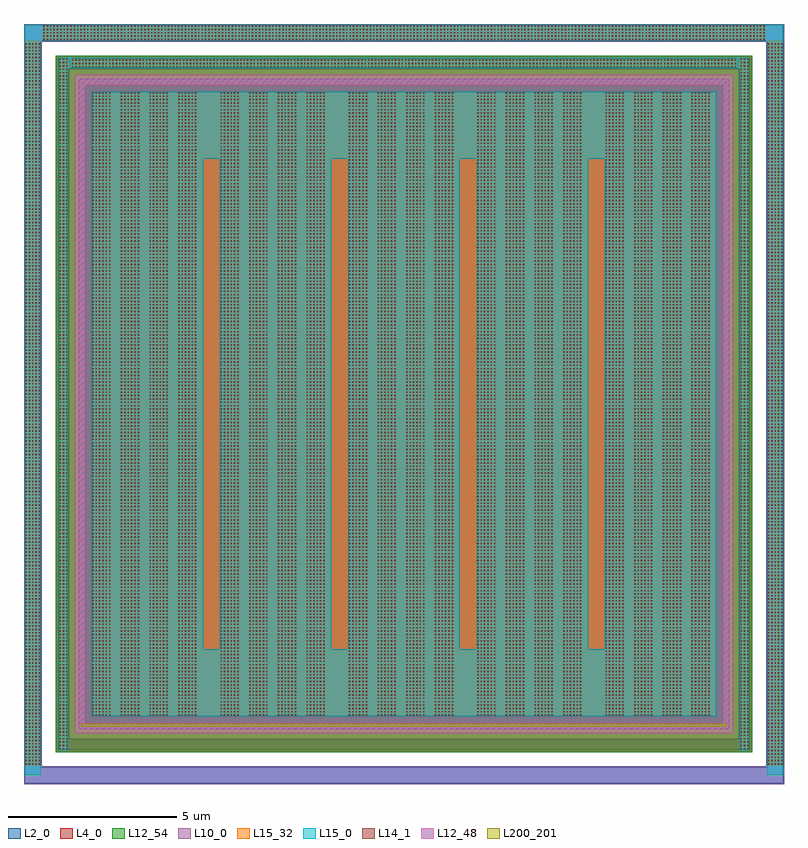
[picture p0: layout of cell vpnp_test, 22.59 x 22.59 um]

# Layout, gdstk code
import gdstk
lib = gdstk.Library(unit=1e-6, precision=1e-09)
def R(c, l, rs):  # rectangles x0, y0, x1, y1
    for r in rs: c.add(gdstk.rectangle(r[:2], r[2:], *l))
def A(c, l, x, y, w, h, nx, ny, dx, dy):  # array of equal rectangles
    R(c, l, [(x+i*dx, y+j*dy, x+i*dx+w, y+j*dy+h) for i in range(nx) for j in range(ny)])
L2_0 = (2, 0)
L4_0 = (4, 0)
L10_0 = (10, 0)
L12_48 = (12, 48)
L12_54 = (12, 54)
L14_1 = (14, 1)
L15_0 = (15, 0)
L15_32 = (15, 32)
L200_201 = (200, 201)

vpnp_test = lib.new_cell('vpnp_test')
R(vpnp_test, L2_0, [(-17.779,-9.809,4.773,-9.329), (-17.779,-9.329,-17.299,12.263), (4.293,-9.329,4.773,12.263), (-16.799,-8.829,3.793,-8.489), (-16.799,-8.489,-16.459,11.423), (3.453,-8.489,3.793,11.423), (-16.103,-8.133,3.097,11.067), (-16.799,11.423,3.793,11.763), (-17.779,12.263,4.773,12.743)])
R(vpnp_test, L4_0, [(-16.855,-8.885,3.849,11.819)])
R(vpnp_test, L10_0, [(-17.8,-9.83,4.794,-9.308), (-17.8,-9.308,-17.278,12.242), (4.272,-9.308,4.794,12.242), (-16.173,-8.203,3.167,11.137), (-17.8,12.242,4.794,12.764)])
R(vpnp_test, L12_48, [(-16.284,-8.314,3.278,-8.008), (-16.284,-8.008,-15.978,10.942), (2.972,-8.008,3.278,10.942), (-16.284,10.942,3.278,11.248)])
R(vpnp_test, L12_54, [(-16.855,-8.885,3.849,11.819)])
A(vpnp_test, L14_1, -17.759, -9.253, 0.04, 0.04, 5, 215, 0.1, 0.1)
A(vpnp_test, L14_1, 4.313, -9.253, 0.04, 0.04, 5, 215, 0.1, 0.1)
A(vpnp_test, L14_1, -16.749, -8.803, 0.04, 0.04, 3, 206, 0.1, 0.1)
A(vpnp_test, L14_1, 3.503, -8.803, 0.04, 0.04, 3, 206, 0.1, 0.1)
A(vpnp_test, L14_1, -15.773, -7.803, 0.04, 0.04, 6, 186, 0.1, 0.1)
A(vpnp_test, L14_1, -14.921, -7.803, 0.04, 0.04, 6, 186, 0.1, 0.1)
A(vpnp_test, L14_1, -14.069, -7.803, 0.04, 0.04, 6, 186, 0.1, 0.1)
A(vpnp_test, L14_1, -13.217, -7.803, 0.04, 0.04, 6, 186, 0.1, 0.1)
A(vpnp_test, L14_1, -11.957, -7.803, 0.04, 0.04, 6, 186, 0.1, 0.1)
A(vpnp_test, L14_1, -11.105, -7.803, 0.04, 0.04, 6, 186, 0.1, 0.1)
A(vpnp_test, L14_1, -10.253, -7.803, 0.04, 0.04, 6, 186, 0.1, 0.1)
A(vpnp_test, L14_1, -9.401, -7.803, 0.04, 0.04, 6, 186, 0.1, 0.1)
A(vpnp_test, L14_1, -8.142, -7.803, 0.04, 0.04, 6, 186, 0.1, 0.1)
A(vpnp_test, L14_1, -7.29, -7.803, 0.04, 0.04, 6, 186, 0.1, 0.1)
A(vpnp_test, L14_1, -6.438, -7.803, 0.04, 0.04, 6, 186, 0.1, 0.1)
A(vpnp_test, L14_1, -5.586, -7.803, 0.04, 0.04, 6, 186, 0.1, 0.1)
A(vpnp_test, L14_1, -4.327, -7.803, 0.04, 0.04, 6, 186, 0.1, 0.1)
A(vpnp_test, L14_1, -3.475, -7.803, 0.04, 0.04, 6, 186, 0.1, 0.1)
A(vpnp_test, L14_1, -2.623, -7.803, 0.04, 0.04, 6, 186, 0.1, 0.1)
A(vpnp_test, L14_1, -1.771, -7.803, 0.04, 0.04, 6, 186, 0.1, 0.1)
A(vpnp_test, L14_1, -0.512, -7.803, 0.04, 0.04, 6, 186, 0.1, 0.1)
A(vpnp_test, L14_1, 0.34, -7.803, 0.04, 0.04, 6, 186, 0.1, 0.1)
A(vpnp_test, L14_1, 1.192, -7.803, 0.04, 0.04, 6, 186, 0.1, 0.1)
A(vpnp_test, L14_1, 2.044, -7.803, 0.04, 0.04, 6, 186, 0.1, 0.1)
A(vpnp_test, L14_1, -16.373, 11.473, 0.04, 0.04, 198, 3, 0.1, 0.1)
A(vpnp_test, L14_1, -17.223, 12.283, 0.04, 0.04, 215, 5, 0.1, 0.1)
A(vpnp_test, L15_0, -11.975, -5.821, 3.315, 14.576, 4, 1, 3.815, 0)
R(vpnp_test, L15_0, [(-17.777,-9.569,-17.301,12.741), (4.295,-9.569,4.771,12.741), (-16.767,-8.821,-16.491,11.755), (3.485,-8.821,3.761,11.755), (-15.791,-7.821,2.785,-5.821), (-15.791,-5.821,-12.476,8.755), (-15.791,8.755,2.785,10.755), (-16.491,11.455,3.485,11.755), (-17.301,12.265,4.295,12.741)])
R(vpnp_test, L15_32, [(-17.777,-9.271,-17.301,12.265), (4.295,-9.271,4.771,12.265), (-16.767,-8.821,-16.491,11.755), (3.485,-8.821,3.761,11.755), (-15.791,-7.821,2.785,10.755), (-16.391,11.455,3.385,11.731), (-17.241,12.265,4.235,12.741)])
R(vpnp_test, L200_201, [(-16.103,-8.133,3.097,-8.033)])

lib.write_gds('vpnp_test.gds')
